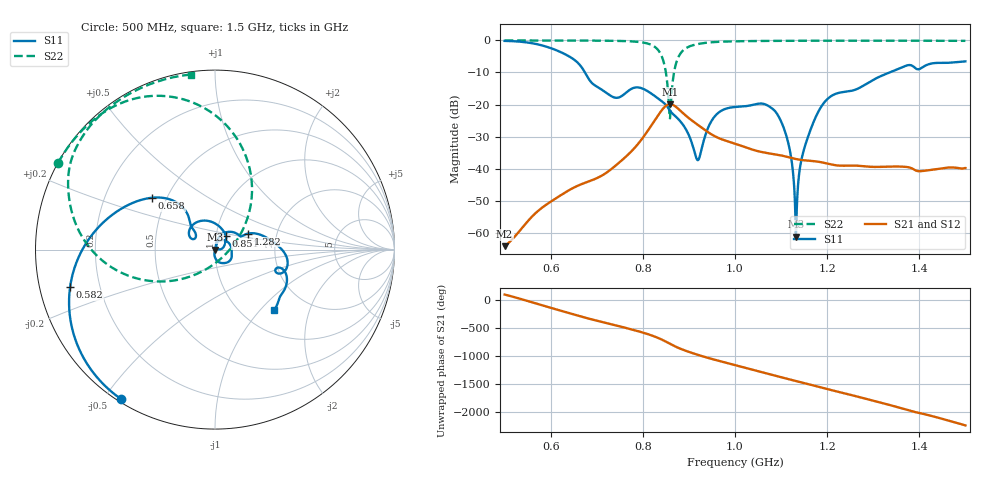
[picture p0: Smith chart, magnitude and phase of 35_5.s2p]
! TOUCHSTONE file generated by CST MICROWAVE STUDIO
! Date and time: Mon Oct 26 12:29:20 2020
! Project name: Scenario_1_Circular_Tissue_out_of_Line.cst
! Parameters = {dy1=243.594; L_HA=400; MT=2.54; Rad_Dielectric=30; Rad_Lower=7.3; Rad_Upper=30; a_HA=580; a_WG=246; b_HA=500; b_WG=121; c_HA=0; c_WG=187; d_feed=85; dx1=866; h_feed=15; h_lower=18; h_upper=40}
! Header version: 2018
! Port assignment regex: !\s*Touchstone port\s*([0-9]+)\s*=\s*(CST MWS port|CST DS port)\s*([0-9]+|Zmin|Zmax)\s*\(\"(.*)\"\)(\s*mode\s*([0-9]+))?.*
! Touchstone port assignment:
! Touchstone port 1 = CST MWS port 1 ("")
! Touchstone port 2 = CST MWS port 2 ("")
# GHz S DB R 50
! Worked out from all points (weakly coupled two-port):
!   1001 points, 500 MHz to 1.5 GHz, reference 50 ohm
!   highest |S21| = -19.89 dB at 859 MHz (marker M1); lowest = -64.2 dB at 500 MHz (marker M2)
!   lowest |S11| = -61.3 dB at 1.132 GHz (marker M3), VSWR 1.00, Z = 50.1 - j0.0592 ohm
!   |S11| at or under -10 dB: 674.4 MHz to 1.336 GHz (661.5 MHz wide, 65.8 % of centre)
!   |S22| runs from -24.3 to 0.0 dB; largest |S21 - S12| = 3e-05
!   S11 on the Smith chart (normalised r, x): 500 MHz: 0.01, -0.55; 582 MHz: 0.09, -0.13; 658 MHz: 0.42, +0.30; 851 MHz: 1.12, +0.17; 1.282 GHz: 1.42, +0.26; 1.5 GHz: 1.39, -1.20
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0.5  -0.15 -122.3  -64.22 88.6  -64.22 88.6  -0.01 151.1
0.582  -1.58 -165.6  -52.13 -104.9  -52.13 -104.9  -0.02 145.5
0.658  -6.85 140.5  -45.40 77.9  -45.40 77.9  -0.04 139.2
0.667  -8.34 132.6  -44.85 56.9  -44.85 56.9  -0.04 138.4
0.735  -17.64 143.9  -39.77 -83.9  -39.77 -83.9  -0.12 130.1
0.779  -14.87 141.5  -34.04 -177.1  -34.04 -177.1  -0.33 120.7
0.834  -18.21 73.2  -23.17 36.7  -23.17 36.7  -3.16 84.7
0.851  -20.28 50.9  -20.31 -29.9  -20.31 -29.9  -10.95 47.7
0.859  -21.93 41.4  -19.89 -64.7  -19.89 -64.7  -24.32 -60.8
0.878  -24.70 24.9  -21.50 -140.1  -21.50 -140.1  -4.97 -168.5
0.919  -37.37 36.9  -26.32 101.1  -26.32 101.1  -1.14 158.6
0.953  -24.26 57.5  -29.66 19.8  -29.66 19.8  -0.53 148.6
1  -20.78 6.0  -32.20 -83.2  -32.20 -83.2  -0.28 140.4
1.092  -23.08 -75.0  -35.66 81.1  -35.66 81.1  -0.13 130.5
1.117  -32.87 -98.2  -36.49 27.4  -36.49 27.4  -0.12 128.3
1.132  -61.26 -43.1  -37.01 -3.6  -37.01 -3.6  -0.11 127.1
1.145  -36.68 70.8  -37.33 -29.9  -37.33 -29.9  -0.10 126.0
1.167  -26.71 77.8  -37.62 -75.5  -37.62 -75.5  -0.10 124.2
1.205  -17.75 50.1  -38.59 -156.3  -38.59 -156.3  -0.09 121.3
1.282  -13.83 25.9  -39.31 44.8  -39.31 44.8  -0.08 115.5
1.334  -10.10 9.9  -39.37 -65.2  -39.38 -65.2  -0.09 111.5
1.5  -6.54 -45.4  -39.84 -71.4  -39.84 -71.4  -0.13 98.0
